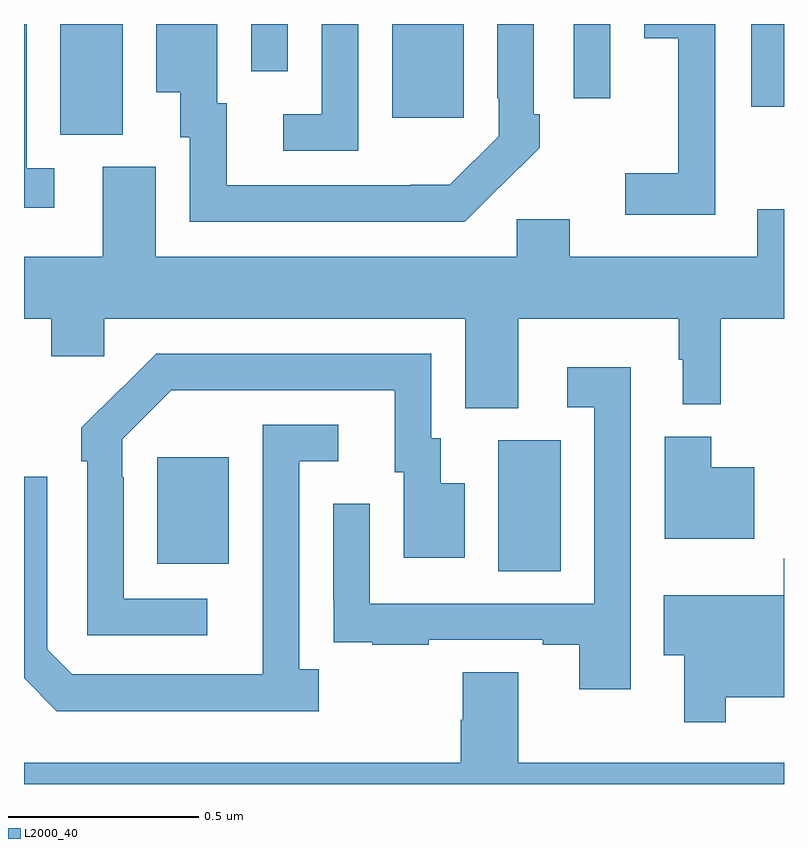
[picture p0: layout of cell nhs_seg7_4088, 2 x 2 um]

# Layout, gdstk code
import gdstk
lib = gdstk.Library(unit=1e-6, precision=1e-09)
def R(c, l, rs):  # rectangles x0, y0, x1, y1
    for r in rs: c.add(gdstk.rectangle(r[:2], r[2:], *l))
def P(c, l, *ps):  # polygons
    for p in ps: c.add(gdstk.Polygon(p, *l))
L2000_40 = (2000, 40)

nhs_seg7_4088 = lib.new_cell('nhs_seg7_4088')
R(nhs_seg7_4088, L2000_40, [(168.248,1058.56,168.412,1058.904), (167.351,1058.579,167.539,1058.86), (167.096,1059.709,167.26,1060), (167.969,1059.753,168.157,1060), (168.914,1059.782,169,1060), (168.447,1059.804,168.543,1060), (167.598,1059.876,167.694,1060)])
P(nhs_seg7_4088, L2000_40, [(167.08,1059.621),(167.007,1059.621),(167.007,1060),(167,1060),(167,1059.516),(167.08,1059.516)],
  [(167.88,1060),(167.784,1060),(167.784,1059.762),(167.682,1059.762),(167.682,1059.666),(167.88,1059.666)],
  [(168.819,1060),(168.632,1060),(168.632,1059.962),(168.722,1059.962),(168.722,1059.607),(168.582,1059.607),(168.582,1059.498),(168.819,1059.498)],
  [(168.251,1059.571),(168.252,1059.57),(168.357,1059.675),(168.357,1059.763),(168.342,1059.763),(168.342,1060),(168.246,1060),(168.246,1059.805),(168.249,1059.805),(168.249,1059.705),(168.121,1059.577),(168.017,1059.577),(168.017,1059.576),(167.533,1059.576),(167.533,1059.792),(167.509,1059.792),(167.509,1060),(167.348,1060),(167.348,1059.821),(167.411,1059.821),(167.411,1059.702),(167.436,1059.702),(167.436,1059.48),(168.16,1059.48)],
  [(168.301,1059.224),(168.723,1059.224),(168.723,1059.117),(168.734,1059.117),(168.734,1058.999),(168.833,1058.999),(168.833,1059.224),(169,1059.224),(169,1059.512),(168.929,1059.512),(168.929,1059.388),(168.436,1059.388),(168.436,1059.486),(168.297,1059.486),(168.297,1059.388),(167.347,1059.388),(167.347,1059.624),(167.207,1059.624),(167.207,1059.388),(167,1059.388),(167,1059.224),(167.072,1059.224),(167.072,1059.126),(167.211,1059.126),(167.211,1059.224),(168.161,1059.224),(168.161,1058.989),(168.301,1058.989)],
  [(167.482,1058.487),(167.262,1058.487),(167.262,1058.807),(167.259,1058.807),(167.259,1058.907),(167.388,1059.036),(167.975,1059.036),(167.975,1058.82),(167.999,1058.82),(167.999,1058.595),(168.16,1058.595),(168.16,1058.791),(168.097,1058.791),(168.097,1058.91),(168.072,1058.91),(168.072,1059.132),(167.348,1059.132),(167.257,1059.041),(167.256,1059.042),(167.151,1058.937),(167.151,1058.849),(167.166,1058.849),(167.166,1058.391),(167.482,1058.391)],
  [(168.597,1059.097),(168.429,1059.097),(168.429,1058.991),(168.501,1058.991),(168.501,1058.475),(167.91,1058.475),(167.91,1058.737),(167.814,1058.737),(167.814,1058.482),(167.815,1058.482),(167.815,1058.373),(167.917,1058.373),(167.917,1058.367),(168.065,1058.367),(168.065,1058.379),(168.365,1058.379),(168.365,1058.367),(168.461,1058.367),(168.461,1058.25),(168.597,1058.25)],
  [(167.776,1058.302),(167.724,1058.302),(167.724,1058.85),(167.827,1058.85),(167.827,1058.946),(167.628,1058.946),(167.628,1058.289),(167.127,1058.289),(167.061,1058.355),(167.061,1058.809),(167,1058.809),(167,1058.278),(167.086,1058.192),(167.776,1058.192)],
  [(168.922,1058.833),(168.808,1058.833),(168.808,1058.914),(168.686,1058.914),(168.686,1058.645),(168.922,1058.645)],
  [(168.847,1058.228),(169,1058.228),(169,1058.593),(168.999,1058.593),(168.999,1058.497),(168.684,1058.497),(168.684,1058.339),(168.737,1058.339),(168.737,1058.163),(168.847,1058.163)],
  [(169,1058.056),(168.301,1058.056),(168.301,1058.294),(168.154,1058.294),(168.154,1058.169),(168.149,1058.169),(168.149,1058.056),(167,1058.056),(167,1058),(169,1058)])

lib.write_gds('nhs_seg7_4088.gds')
